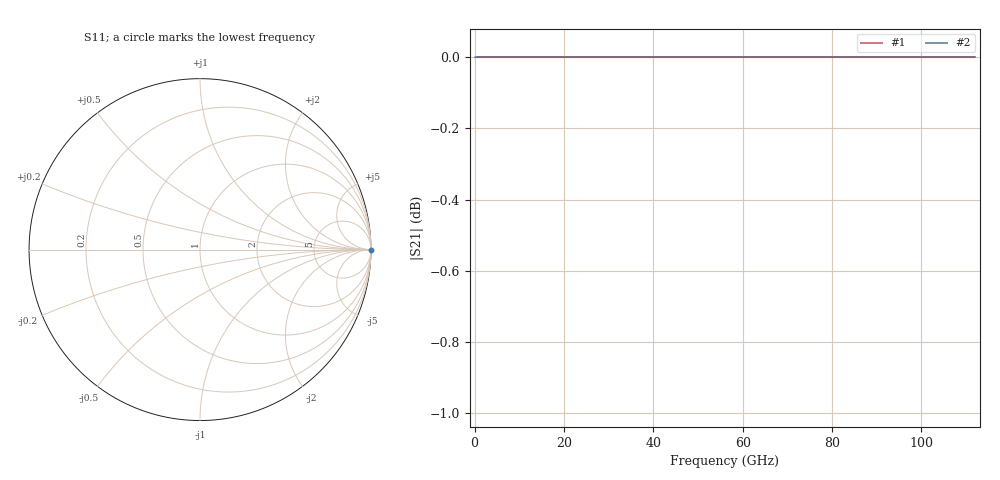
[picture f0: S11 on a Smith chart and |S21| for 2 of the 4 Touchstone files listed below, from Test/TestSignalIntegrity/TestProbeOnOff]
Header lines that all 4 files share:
! https://github.com/TeledyneLeCroy/SignalIntegrity
# MHz S MA R 50.0
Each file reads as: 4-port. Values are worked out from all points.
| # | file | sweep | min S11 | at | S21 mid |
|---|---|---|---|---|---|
| 1 | ProbeCircuit27.s4p | 500 MHz to 112 GHz | 0.0 dB | 500 MHz | 0.0 dB at 56.5 GHz |
| 2 | ProbeCircuit29.s4p | 100 MHz to 112 GHz | 0.0 dB | 100 MHz | 0.0 dB at 56.1 GHz |
| 3 | ProbeCircuit93.s4p | 500 MHz to 112 GHz | 0.0 dB | 500 MHz | 0.0 dB at 56.5 GHz |
| 4 | ProbeCircuit119.s4p | 100 MHz to 112 GHz | 0.0 dB | 100 MHz | 0.0 dB at 56.1 GHz |
